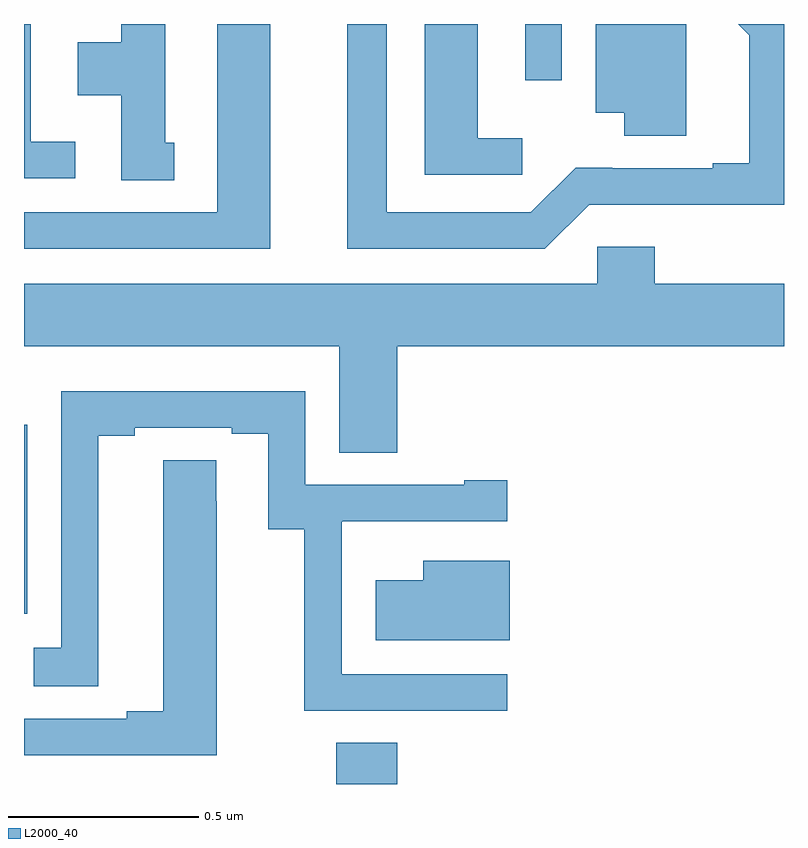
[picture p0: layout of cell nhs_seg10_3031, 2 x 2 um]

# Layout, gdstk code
import gdstk
lib = gdstk.Library(unit=1e-6, precision=1e-09)
def R(c, l, rs):  # rectangles x0, y0, x1, y1
    for r in rs: c.add(gdstk.rectangle(r[:2], r[2:], *l))
def P(c, l, *ps):  # polygons
    for p in ps: c.add(gdstk.Polygon(p, *l))
L2000_40 = (2000, 40)

nhs_seg10_3031 = lib.new_cell('nhs_seg10_3031')
R(nhs_seg10_3031, L2000_40, [(148.822,1296.5,148.982,1296.608), (148,1296.948,148.008,1297.445), (149.319,1298.352,149.415,1298.5)])
P(nhs_seg10_3031, L2000_40, [(148.648,1298.5),(148.508,1298.5),(148.508,1298.004),(148,1298.004),(148,1297.908),(148.648,1297.908)],
  [(148.396,1298.187),(148.372,1298.187),(148.372,1298.5),(148.256,1298.5),(148.256,1298.452),(148.142,1298.452),(148.142,1298.312),(148.256,1298.312),(148.256,1298.089),(148.396,1298.089)],
  [(148.135,1298.19),(148.018,1298.19),(148.018,1298.5),(148,1298.5),(148,1298.094),(148.135,1298.094)],
  [(149.311,1298.2),(149.194,1298.2),(149.194,1298.5),(149.054,1298.5),(149.054,1298.103),(149.311,1298.103)],
  [(149.743,1298.5),(149.504,1298.5),(149.504,1298.267),(149.579,1298.267),(149.579,1298.206),(149.743,1298.206)],
  [(149.487,1298.025),(149.743,1298.025),(149.743,1298.024),(150,1298.024),(150,1298.5),(149.879,1298.5),(149.909,1298.47),(149.909,1298.134),(149.813,1298.134),(149.813,1298.121),(149.548,1298.121),(149.548,1298.122),(149.452,1298.122),(149.334,1298.004),(148.954,1298.004),(148.954,1298.5),(148.85,1298.5),(148.85,1297.908),(149.37,1297.908)],
  [(148.982,1297.652),(150,1297.652),(150,1297.816),(149.66,1297.816),(149.66,1297.914),(149.508,1297.914),(149.508,1297.816),(148,1297.816),(148,1297.652),(148.829,1297.652),(148.829,1297.372),(148.982,1297.372)],
  [(149.272,1296.789),(148.836,1296.789),(148.836,1297.19),(148.838,1297.19),(148.838,1297.191),(149.272,1297.191),(149.272,1297.3),(149.159,1297.3),(149.159,1297.287),(148.74,1297.287),(148.74,1297.533),(148.098,1297.533),(148.098,1296.858),(148.026,1296.858),(148.026,1296.757),(148.195,1296.757),(148.195,1297.417),(148.291,1297.417),(148.291,1297.437),(148.547,1297.437),(148.547,1297.422),(148.643,1297.422),(148.643,1297.171),(148.738,1297.171),(148.738,1296.693),(149.272,1296.693)],
  [(148.507,1297.244),(148.506,1297.244),(148.506,1297.352),(148.367,1297.352),(148.367,1296.692),(148.271,1296.692),(148.271,1296.672),(148,1296.672),(148,1296.576),(148.507,1296.576)],
  [(149.278,1297.087),(149.051,1297.087),(149.051,1297.036),(148.926,1297.036),(148.926,1296.878),(149.278,1296.878)])

lib.write_gds('nhs_seg10_3031.gds')
